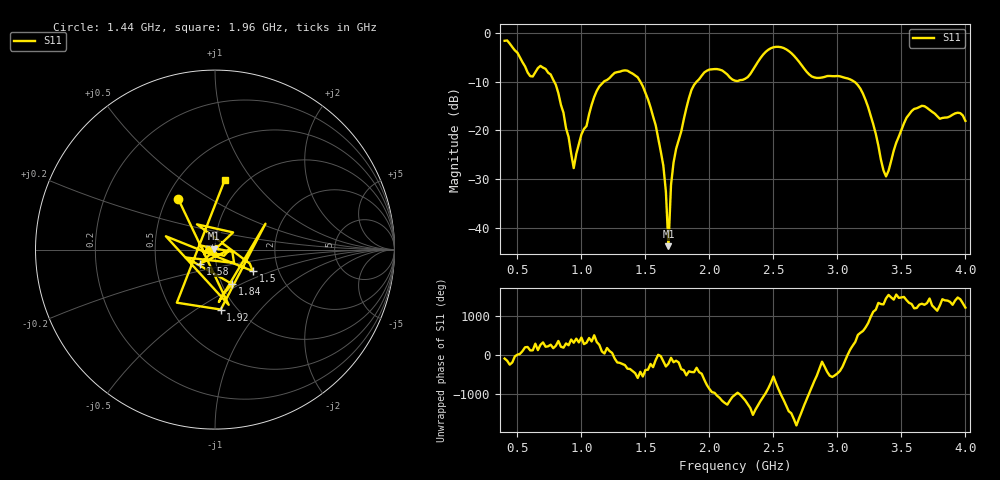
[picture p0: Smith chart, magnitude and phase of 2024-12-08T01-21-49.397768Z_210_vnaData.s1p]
!Created with skrf (http://scikit-rf.org).
# Hz S RI R 50.0
!freq ReS11 ImS11
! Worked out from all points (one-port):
!   181 points, 400 MHz to 4 GHz, reference 50 ohm
!   lowest |S11| = -43.8 dB at 1.68 GHz (marker M1), VSWR 1.01, Z = 49.6 + j0.48 ohm
!   |S11| at or under -10 dB: 787.4 MHz to 1.176 GHz (388.2 MHz wide, 39.6 % of centre); 1.46 GHz to 1.9 GHz (440 MHz wide, 26.2 % of centre); 3.131 GHz to end of sweep
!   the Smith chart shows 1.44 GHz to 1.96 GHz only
!   S11 on the Smith chart (normalised r, x): 1.44 GHz: 0.57, +0.37; 1.5 GHz: 1.48, -0.38; 1.58 GHz: 0.84, -0.13; 1.84 GHz: 1.12, -0.45; 1.92 GHz: 0.85, -0.64; 1.96 GHz: 0.81, +0.74
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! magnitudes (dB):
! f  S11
! 400 MHz  -1.6
! 600 MHz  -8.9
! 760 MHz  -8.5
! 860 MHz  -16.4
! 940 MHz  -27.7
! 1.12 GHz  -11.9
! 1.3 GHz  -8.0
! 1.44 GHz  -9.1
! 1.5 GHz  -12.3
! 1.58 GHz  -18.9
! 1.64 GHz  -27.2
! 1.66 GHz  -32.5
! 1.68 GHz  -43.8
! 1.7 GHz  -31.2
! 1.76 GHz  -22.0
! 1.84 GHz  -13.4
! 1.92 GHz  -9.5
! 1.96 GHz  -8.1
! 2.2 GHz  -9.8
! 2.48 GHz  -3.1
! 2.66 GHz  -4.7
! 2.8 GHz  -8.9
! 3.1 GHz  -9.5
! 3.22 GHz  -13.8
! 3.38 GHz  -29.4
! 3.56 GHz  -16.7
! 3.66 GHz  -15.0
! 4 GHz  -18.0
